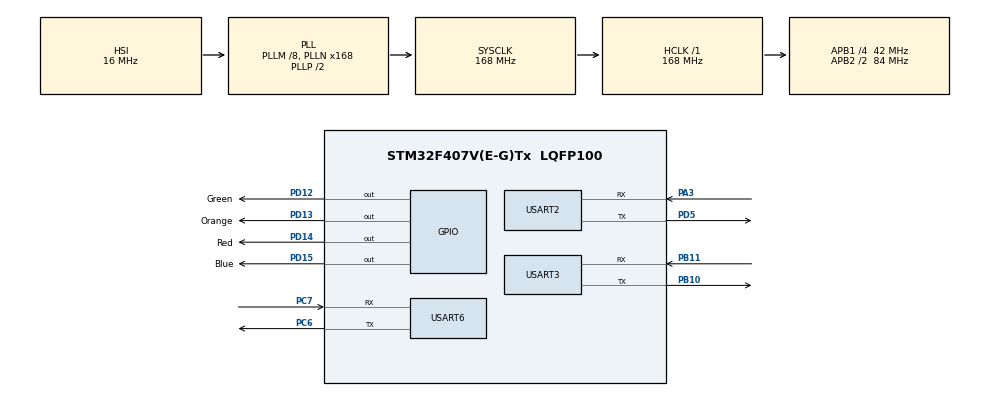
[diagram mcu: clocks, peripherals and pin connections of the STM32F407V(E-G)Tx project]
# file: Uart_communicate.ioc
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Dma.Request0=USART2_RX
Dma.Request1=USART3_RX
Dma.Request2=USART6_RX
Dma.USART2_RX.0.Direction=DMA_PERIPH_TO_MEMORY
Dma.USART2_RX.0.FIFOMode=DMA_FIFOMODE_DISABLE
Dma.USART2_RX.0.Instance=DMA1_Stream5
Dma.USART2_RX.0.MemDataAlignment=DMA_MDATAALIGN_BYTE
Dma.USART2_RX.0.MemInc=DMA_MINC_ENABLE
Dma.USART2_RX.0.Mode=DMA_NORMAL
Dma.USART2_RX.0.PeriphDataAlignment=DMA_PDATAALIGN_BYTE
Dma.USART2_RX.0.PeriphInc=DMA_PINC_DISABLE
Dma.USART2_RX.0.Priority=DMA_PRIORITY_LOW
Dma.USART3_RX.1.Direction=DMA_PERIPH_TO_MEMORY
Dma.USART3_RX.1.FIFOMode=DMA_FIFOMODE_DISABLE
Dma.USART3_RX.1.Instance=DMA1_Stream1
Dma.USART3_RX.1.MemDataAlignment=DMA_MDATAALIGN_BYTE
Dma.USART3_RX.1.MemInc=DMA_MINC_ENABLE
Dma.USART3_RX.1.Mode=DMA_NORMAL
Dma.USART3_RX.1.PeriphDataAlignment=DMA_PDATAALIGN_BYTE
Dma.USART3_RX.1.PeriphInc=DMA_PINC_DISABLE
Dma.USART3_RX.1.Priority=DMA_PRIORITY_LOW
Dma.USART6_RX.2.Direction=DMA_PERIPH_TO_MEMORY
Dma.USART6_RX.2.FIFOMode=DMA_FIFOMODE_DISABLE
Dma.USART6_RX.2.Instance=DMA2_Stream1
Dma.USART6_RX.2.MemDataAlignment=DMA_MDATAALIGN_BYTE
Dma.USART6_RX.2.MemInc=DMA_MINC_ENABLE
Dma.USART6_RX.2.Mode=DMA_NORMAL
Dma.USART6_RX.2.PeriphDataAlignment=DMA_PDATAALIGN_BYTE
Dma.USART6_RX.2.PeriphInc=DMA_PINC_DISABLE
Dma.USART6_RX.2.Priority=DMA_PRIORITY_LOW
Mcu.Family=STM32F4
Mcu.Name=STM32F407V(E-G)Tx
Mcu.Package=LQFP100
NVIC.DMA1_Stream1_IRQn=true\:0\:0\:false\:false\:true\:false\:true\:true
NVIC.DMA1_Stream5_IRQn=true\:0\:0\:false\:false\:true\:false\:true\:true
NVIC.DMA2_Stream1_IRQn=true\:0\:0\:false\:false\:true\:false\:true\:true
NVIC.PriorityGroup=NVIC_PRIORITYGROUP_0
NVIC.TIM1_BRK_TIM9_IRQn=true\:0\:0\:false\:false\:true\:true\:true\:true
NVIC.USART2_IRQn=true\:0\:0\:false\:false\:true\:true\:true\:true
NVIC.USART3_IRQn=true\:0\:0\:false\:false\:true\:true\:true\:true
PA13.Mode=Serial_Wire
PA13.Signal=SYS_JTMS-SWDIO
PA14.Mode=Serial_Wire
PA14.Signal=SYS_JTCK-SWCLK
PA3.Mode=Asynchronous
PA3.Signal=USART2_RX
PB10.Mode=Asynchronous
PB10.Signal=USART3_TX
PB11.Mode=Asynchronous
PB11.Signal=USART3_RX
PC6.Mode=Asynchronous
PC6.Signal=USART6_TX
PC7.Mode=Asynchronous
PC7.Signal=USART6_RX
PD12.GPIO_Label=Green
PD12.Signal=GPIO_Output
PD13.GPIO_Label=Orange
PD13.Signal=GPIO_Output
PD14.GPIO_Label=Red
PD14.Signal=GPIO_Output
PD15.GPIO_Label=Blue
PD15.Signal=GPIO_Output
PD5.Mode=Asynchronous
PD5.Signal=USART2_TX
PH0-OSC_IN.Mode=HSE-External-Oscillator
PH0-OSC_IN.Signal=RCC_OSC_IN
PH1-OSC_OUT.Mode=HSE-External-Oscillator
PH1-OSC_OUT.Signal=RCC_OSC_OUT
ProjectManager.HeapSize=0x200
ProjectManager.StackSize=0x400
ProjectManager.TargetToolchain=STM32CubeIDE
RCC.48MHZClocksFreq_Value=48000000
RCC.AHBFreq_Value=168000000
RCC.APB1CLKDivider=RCC_HCLK_DIV4
RCC.APB1Freq_Value=42000000
RCC.APB1TimFreq_Value=84000000
RCC.APB2CLKDivider=RCC_HCLK_DIV2
RCC.APB2Freq_Value=84000000
RCC.APB2TimFreq_Value=168000000
RCC.CortexFreq_Value=168000000
RCC.HCLKFreq_Value=168000000
RCC.HSE_VALUE=8000000
RCC.HSI_VALUE=16000000
RCC.LSE_VALUE=32768
RCC.PLLM=8
RCC.PLLN=168
RCC.PLLQ=7
RCC.SYSCLKFreq_VALUE=168000000
RCC.SYSCLKSource=RCC_SYSCLKSOURCE_PLLCLK
RCC.VCOOutputFreq_Value=336000000
TIM9.Period=9999
TIM9.Prescaler=167
USART2.VirtualMode=VM_ASYNC
USART3.VirtualMode=VM_ASYNC
USART6.VirtualMode=VM_ASYNC
VP_TIM9_VS_ClockSourceINT.Mode=Internal
board=STM32F407G-DISC1

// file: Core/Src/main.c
/* USER CODE BEGIN Header */
/**
  ******************************************************************************
  * @file           : main.c
  * @brief          : Main program body
  ******************************************************************************
  * @attention
  *
  * Copyright (c) 2024 STMicroelectronics.
  * All rights reserved.
  *
  * This software is licensed under terms that can be found in the LICENSE file
  * in the root directory of this software component.
  * If no LICENSE file comes with this software, it is provided AS-IS.
  *
  ******************************************************************************
  */
/* USER CODE END Header */
#include "main.h"
#include "dma.h"
#include "tim.h"
#include "usart.h"
#include "gpio.h"

/* USER CODE BEGIN Includes */
//#include <string.h>
#include <stdio.h>
/* USER CODE END Includes */

/* USER CODE BEGIN PTD */
#define rx_data_size 8
uint8_t rx_data[rx_data_size];
char tx_data[14];
//#define uart2
#define uart3
/* USER CODE END PTD */

/* USER CODE BEGIN PM */
void HAL_UART_RxCpltCallback(UART_HandleTypeDef *huart)
{
	char *pend; char *pend1; char *pend2;
	int16_t rdr      =  strtol((char *)rx_data, &pend, 10);
	int16_t ldr      =  strtol(pend , &pend1, 10);
	int16_t e123     =  strtol(pend1, &pend2, 10);

	//printf("%s \r\n",rx_data);
	printf("%d %d %d \n",rdr, ldr, e123);
//	printf("%d \r\n",rdr);
//	printf("%d \r\n",ldr);
//	printf("%d \r\n",e123);
//	HAL_UART_Receive_DMA(&huart2,rx_data,10);
}
/* USER CODE END PM */

void SystemClock_Config(void);

int main(void)
{

  /* MCU Configuration--------------------------------------------------------*/

  /* Reset of all peripherals, Initializes the Flash interface and the Systick. */
  HAL_Init();

  /* Configure the system clock */
  SystemClock_Config();

  /* Initialize all configured peripherals */
  MX_GPIO_Init();
  MX_DMA_Init();
  MX_USART2_UART_Init();
  MX_TIM9_Init();
  MX_USART3_UART_Init();
  MX_USART6_UART_Init();
  /* USER CODE BEGIN 2 */
#ifdef uart2
  HAL_UART_Receive_DMA(&huart2,rx_data,rx_data_size);
#endif
#ifdef uart3
  HAL_UART_Receive_DMA(&huart3,rx_data,rx_data_size);
#endif
  HAL_TIM_Base_Start_IT(&htim9);
  /* USER CODE END 2 */

  /* Infinite loop */
  while (1)
  {

  }
}

void SystemClock_Config(void)
{
  RCC_OscInitTypeDef RCC_OscInitStruct = {0};
  RCC_ClkInitTypeDef RCC_ClkInitStruct = {0};

  /** Configure the main internal regulator output voltage
  */
  __HAL_RCC_PWR_CLK_ENABLE();
  __HAL_PWR_VOLTAGESCALING_CONFIG(PWR_REGULATOR_VOLTAGE_SCALE1);

  /** Initializes the RCC Oscillators according to the specified parameters
  * in the RCC_OscInitTypeDef structure.
  */
  RCC_OscInitStruct.OscillatorType = RCC_OSCILLATORTYPE_HSI;
  RCC_OscInitStruct.HSIState = RCC_HSI_ON;
  RCC_OscInitStruct.HSICalibrationValue = RCC_HSICALIBRATION_DEFAULT;
  RCC_OscInitStruct.PLL.PLLState = RCC_PLL_ON;
  RCC_OscInitStruct.PLL.PLLSource = RCC_PLLSOURCE_HSI;
  RCC_OscInitStruct.PLL.PLLM = 8;
  RCC_OscInitStruct.PLL.PLLN = 168;
  RCC_OscInitStruct.PLL.PLLP = RCC_PLLP_DIV2;
  RCC_OscInitStruct.PLL.PLLQ = 7;
  if (HAL_RCC_OscConfig(&RCC_OscInitStruct) != HAL_OK)
  {
    Error_Handler();
  }

  /** Initializes the CPU, AHB and APB buses clocks
  */
  RCC_ClkInitStruct.ClockType = RCC_CLOCKTYPE_HCLK|RCC_CLOCKTYPE_SYSCLK
                              |RCC_CLOCKTYPE_PCLK1|RCC_CLOCKTYPE_PCLK2;
  RCC_ClkInitStruct.SYSCLKSource = RCC_SYSCLKSOURCE_PLLCLK;
  RCC_ClkInitStruct.AHBCLKDivider = RCC_SYSCLK_DIV1;
  RCC_ClkInitStruct.APB1CLKDivider = RCC_HCLK_DIV4;
  RCC_ClkInitStruct.APB2CLKDivider = RCC_HCLK_DIV2;

  if (HAL_RCC_ClockConfig(&RCC_ClkInitStruct, FLASH_LATENCY_5) != HAL_OK)
  {
    Error_Handler();
  }
}

/* USER CODE BEGIN 4 */
int _write(int file, char *ptr, int len)
{
  (void)file;

  int DataIdx;

  for (DataIdx = 0; DataIdx < len; DataIdx++)
  {
   ITM_SendChar(*ptr++);
  }
  return len;
}

void TIM1_BRK_TIM9_IRQHandler(void)
{
  /* USER CODE BEGIN TIM1_BRK_TIM9_IRQn 0 */
if(TIM9->SR & TIM_SR_UIF)
	{
		sprintf(tx_data,"%d %d %d %d\r\n", 45, 34, 22, 67);

#ifdef uart2
		HAL_UART_Transmit_IT(&huart2,(uint8_t *)tx_data,sizeof(tx_data));
		HAL_UART_Receive_DMA(&huart2,rx_data,rx_data_size);
#endif

#ifdef uart3
		HAL_UART_Transmit_IT(&huart3,(uint8_t *)tx_data,sizeof(tx_data));
		HAL_UART_Receive_DMA(&huart3,rx_data,rx_data_size);
#endif

		HAL_GPIO_TogglePin(GPIOD,Orange_Pin|Blue_Pin);

		//HAL_Delay(1000);
	}
  /* USER CODE END TIM1_BRK_TIM9_IRQn 0 */
  HAL_TIM_IRQHandler(&htim9);
  /* USER CODE BEGIN TIM1_BRK_TIM9_IRQn 1 */

  /* USER CODE END TIM1_BRK_TIM9_IRQn 1 */
}
/* USER CODE END 4 */

void Error_Handler(void)
{
  __disable_irq();
  while (1)
  {
  }
}
